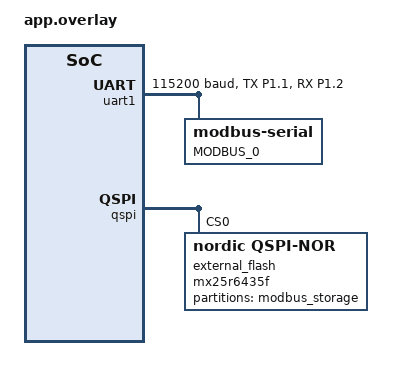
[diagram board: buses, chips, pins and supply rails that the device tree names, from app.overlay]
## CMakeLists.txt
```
# SPDX-License-Identifier: Apache-2.0

cmake_minimum_required(VERSION 3.20.0)

find_package(Zephyr REQUIRED HINTS $ENV{ZEPHYR_BASE})
project(modbus-rtu-project)

# Always include main.c
target_sources(app PRIVATE src/main.c)

# Conditionally include source files based on the selected role
target_sources_ifdef(CONFIG_MODBUS_ROLE_CLIENT app PRIVATE src/modbus_client.c)
target_sources_ifdef(CONFIG_MODBUS_ROLE_SERVER app PRIVATE src/modbus_server.c)
```

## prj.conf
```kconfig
# Fundamental Hardware Support
CONFIG_GPIO=y
CONFIG_SERIAL=y
CONFIG_UART_INTERRUPT_DRIVEN=y


# Enable Logging
# Enable the logging subsystem
CONFIG_LOG=y
#CONFIG_LOG_MODE_DEFERRED=y  # Buffers logs to avoid blocking threads
CONFIG_LOG_MODE_IMMEDIATE=y #temp
# 3 = Info, 4 = Debug
CONFIG_LOG_DEFAULT_LEVEL=3

# Enable Serial and Interrupt Driven API (Required for Modbus)



# Nordic specific UART driver
CONFIG_UART_NRFX=y

# Enable the Modbus stack and Serial (RTU/ASCII) backend
CONFIG_MODBUS=y
CONFIG_MODBUS_SERIAL=y
# Enable verbose raw packet logging
CONFIG_MODBUS_LOG_LEVEL_DBG=y

CONFIG_MAIN_STACK_SIZE=2048
CONFIG_SYSTEM_WORKQUEUE_STACK_SIZE=2048

# Flash and QSPI drivers
CONFIG_FLASH=y
CONFIG_FLASH_MAP=y
CONFIG_FCB=y
# This is crucial for the flash_area_write function
CONFIG_FLASH_PAGE_LAYOUT=y
```

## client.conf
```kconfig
CONFIG_MODBUS_ROLE_CLIENT=y
CONFIG_MODBUS_LOG_LEVEL_INF=y
```

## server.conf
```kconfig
CONFIG_MODBUS_ROLE_SERVER=y
CONFIG_MODBUS_LOG_LEVEL_INF=y
```

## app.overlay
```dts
#include <zephyr/dt-bindings/gpio/gpio.h>
#include <zephyr/dt-bindings/pinctrl/nrf-pinctrl.h>

/ {
    aliases {
        modbus0 = &modbus0;
        heartbeat-led = &led0;
    };
};

&pinctrl {
    uart1_default_alt: uart1_default_alt {
        group1 {
            psels = <NRF_PSEL(UART_TX, 1, 1)>,
                    <NRF_PSEL(UART_RX, 1, 2)>;
            bias-pull-up;
        };
    };
    uart1_sleep_alt: uart1_sleep_alt {
        group1 {
            psels = <NRF_PSEL(UART_TX, 1, 1)>,
                    <NRF_PSEL(UART_RX, 1, 2)>;
            low-power-enable;
        };
    };
};

&uart1 {
    status = "okay";
    current-speed = <115200>;
    pinctrl-0 = <&uart1_default_alt>;
    pinctrl-1 = <&uart1_sleep_alt>;
    pinctrl-names = "default", "sleep";

    modbus0: modbus0 {
        compatible = "zephyr,modbus-serial";
        status = "okay";
        label = "MODBUS_0";
    };
};

&qspi {
    status = "okay";
    external_flash: mx25r6435f@0 {
        compatible = "nordic,qspi-nor";
        reg = <0>;
        size = <0x800000>; /* 8MB */

        partitions {
            compatible = "fixed-partitions";
            #address-cells = <1>;
            #size-cells = <1>;

            modbus_partition: partition@0 {
                label = "modbus_storage";
                reg = <0x00000000 0x10000>; /* 64KB */
            };
        };
    };
};
```

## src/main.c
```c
#include <zephyr/kernel.h>
#include <zephyr/drivers/gpio.h>
#include <zephyr/logging/log.h>

#include "shared_data.h"

K_MSGQ_DEFINE(modbus_msgq, sizeof(struct modbus_data_packet), 10, 4);

LOG_MODULE_REGISTER(main, LOG_LEVEL_INF);

static const struct gpio_dt_spec hb_led = GPIO_DT_SPEC_GET(DT_ALIAS(heartbeat_led), gpios);

int main(void)
{
    struct modbus_data_packet incoming_data;

    if (!gpio_is_ready_dt(&hb_led)) {
        LOG_ERR("LED device not ready");
        return 0;
    }

    gpio_pin_configure_dt(&hb_led, GPIO_OUTPUT_ACTIVE);
    LOG_INF("Application started. Heartbeat active.\n");

    while (1) {
        /* Toggle LED every 500ms */
        gpio_pin_toggle_dt(&hb_led);

        /* Wait for data with a timeout so the loop (and LED) keeps running */
        if (k_msgq_get(&modbus_msgq, &incoming_data, K_MSEC(500)) == 0) {
            LOG_INF("[%u] Reg: %d, Val: %d\n",
                    incoming_data.timestamp,
                    incoming_data.reg_addr,
                    incoming_data.value);
        }
    }
    return 0;
}
```

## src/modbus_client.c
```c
#include <zephyr/kernel.h>
#include <zephyr/logging/log.h>
#include <zephyr/modbus/modbus.h>
#include "shared_data.h"

/* Keep only ONE registration. Use DBG to see detailed Modbus traffic. */
LOG_MODULE_REGISTER(modbus_client, LOG_LEVEL_DBG);

#ifdef CONFIG_MODBUS_ROLE_CLIENT

void modbus_client_thread(void *p1, void *p2, void *p3)
{
    /* Use the label defined in your overlay */

    const char iface_name[] = "MODBUS_0";
    int iface = modbus_iface_get_by_name(iface_name);
    LOG_INF("Modbus interface index: %d for device: %s",
         iface,
         DEVICE_DT_NAME(DT_ALIAS(modbus0)));
    uint16_t read_val;
    int err;

    static struct modbus_iface_param client_param = {
        .mode = MODBUS_MODE_RTU,
        .rx_timeout = 50000,
        .serial = {.baud = 115200, .parity = UART_CFG_PARITY_NONE}
    };

    if (iface < 0) {
        LOG_ERR("Could not find Modbus interface");
        return;
    }

    if (modbus_init_client(iface, client_param)) {
        LOG_ERR("Failed to initialize Modbus Client");
        return;
    }

    LOG_INF("Modbus Client polling started...");

    while (1) {
        /* Poll Server ID 1, Holding Register 0 (often mapped to '1' in PLC tools) */
        err = modbus_read_holding_regs(iface, 1, 0, &read_val, 1);

        if (err == 0) {
            LOG_INF("SUCCESS: Read Reg 0 = %d", read_val);
            struct modbus_data_packet pkt = {
                .reg_addr = 0,
                .value = read_val,
                .timestamp = k_uptime_get_32()
            };
            k_msgq_put(&modbus_msgq, &pkt, K_NO_WAIT);
        } else {
            /* Error -116 is ETIMEDOUT (Wiring/ID issue) */
            LOG_WRN("FAILED: err %d", err);
        }

        k_msleep(20000);
    }
}

K_THREAD_DEFINE(modbus_cli_tid, 2048, modbus_client_thread, NULL, NULL, NULL, 7, 0, 0);
#endif
```

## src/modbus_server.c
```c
#include <zephyr/kernel.h>
#include <zephyr/logging/log.h>
#include <zephyr/modbus/modbus.h>
#include "shared_data.h"

#include <zephyr/storage/flash_map.h>
#include <zephyr/devicetree.h>
#include <zephyr/fs/fcb.h>
#include <zephyr/drivers/flash.h>
#include <errno.h>

#include "shared_data.h"

#ifdef CONFIG_MODBUS_ROLE_SERVER

LOG_MODULE_REGISTER(modbus_server, LOG_LEVEL_DBG);

/* * In Zephyr 4.x, the non-deprecated way to get a partition ID is
 * using DT_FIXED_PARTITION_ID on a DT_NODELABEL.
 */
#define MODBUS_PARTITION_ID DT_FIXED_PARTITION_ID(DT_NODELABEL(modbus_partition))
#define FCB_MAGIC 0x54425553

static struct fcb my_fcb;
static struct flash_sector sectors[16];
static const struct flash_area *fa_ptr;

void init_storage(void) {
    int rc;
    rc = flash_area_open(MODBUS_PARTITION_ID, &fa_ptr);
    if (rc) { return; }

    my_fcb.f_magic = FCB_MAGIC;
    my_fcb.f_sector_cnt = 16;
    my_fcb.f_sectors = sectors;

    rc = fcb_init(MODBUS_PARTITION_ID, &my_fcb);

    // If it fails with -5 (EIO) or is empty, erase it so FCB can take over
    if (rc != 0) {
        LOG_WRN("Formatting FCB storage...");
        flash_area_erase(fa_ptr, 0, fa_ptr->fa_size);
        rc = fcb_init(MODBUS_PARTITION_ID, &my_fcb);
    }

    if (rc == 0) {
        LOG_INF("FCB initialized successfully");
    }
}

static int holding_reg_read(uint16_t addr, uint16_t *reg)
{
    /* For testing: return a dummy value (e.g., 123) for any register read */
    *reg = 123;
    LOG_DBG("Client read register %d, sending value %d", addr, *reg);
    return 0;
}

static int holding_reg_write(uint16_t addr, uint16_t reg)
{
    struct modbus_data_packet pkt = {
        .reg_addr = addr,
        .value = reg,
        .timestamp = k_uptime_get_32()
    };

    struct fcb_entry loc;
    int rc = fcb_append(&my_fcb, sizeof(pkt), &loc);

    if (rc == -ENOSPC) {
        LOG_WRN("FCB Full, rotating oldest sector...\n");
        fcb_rotate(&my_fcb);
        rc = fcb_append(&my_fcb, sizeof(pkt), &loc);
    }

    if (rc == 0) {
        /* Use the fa_ptr obtained from flash_area_open */
        rc = flash_area_write(fa_ptr, loc.fe_data_off, &pkt, sizeof(pkt));
        if (rc == 0) {
            fcb_append_finish(&my_fcb, &loc);
            LOG_INF("Stored to QSPI: Reg %d = %d\n", addr, reg);
        }
    }

    k_msgq_put(&modbus_msgq, &pkt, K_NO_WAIT);
    return 0;
}

#define MODBUS_NODE DT_ALIAS(modbus0)


static struct modbus_user_callbacks server_cbs = {
    .holding_reg_wr = holding_reg_write,
    .holding_reg_rd = holding_reg_read,
};

static struct modbus_iface_param server_param = {
    .mode = MODBUS_MODE_RTU,
    .rx_timeout = 50000,
    .serial = {
        .baud = 115200,
        .parity = UART_CFG_PARITY_NONE
    },
    .server = {
        .user_cb = &server_cbs,
        .unit_id = 1,
    }
};


// Apply the same fix to the server thread
void modbus_server_thread(void *p1, void *p2, void *p3)
{
    init_storage();

    const char iface_name[] = "MODBUS_0";
    int iface = modbus_iface_get_by_name(iface_name);
    LOG_INF("Modbus interface index: %d for device: %s",
         iface,
         DEVICE_DT_NAME(DT_ALIAS(modbus0)));

    if (iface < 0) {
        LOG_ERR("Failed to get Modbus interface");
        return;
    }

    if (modbus_init_server(iface, server_param)) {
        LOG_ERR("Modbus server failed to initialize!");
        return;
    }
    LOG_INF("Modbus server initialized on Unit ID 1");

    while (1) {
        /* In Zephyr, the stack handles server responses in the background
           once initialized, but we keep the thread alive. */
        k_sleep(K_FOREVER);
    }
}

K_THREAD_DEFINE(modbus_srv_tid, 2048, modbus_server_thread, NULL, NULL, NULL, 7, 0, 0);

#endif
```

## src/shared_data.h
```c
#ifndef SHARED_DATA_H
#define SHARED_DATA_H

#include <zephyr/kernel.h>
#include <zephyr/logging/log.h>

/* Structure for the data you want to save/pass */
struct modbus_data_packet {
    uint16_t reg_addr;
    uint16_t value;
    uint32_t timestamp;
};

/* Define the queue: 10 items max, aligned to 4 bytes */
extern struct k_msgq modbus_msgq;

#endif
```
